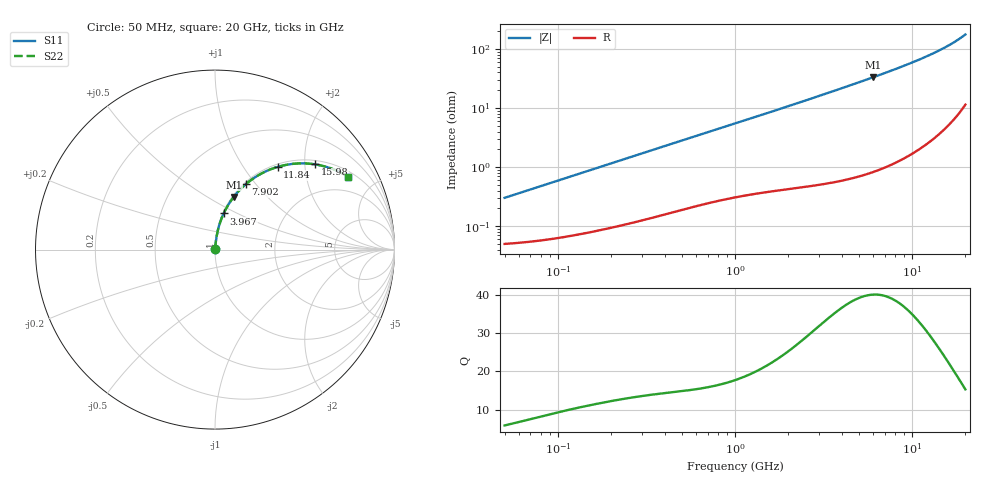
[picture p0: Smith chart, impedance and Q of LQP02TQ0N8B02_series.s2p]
!Murata Part Number: LQP02TQ0N8B02
!These Parameters are Measured in Series Mode Connection
!  o--[Z]--o
!Port1  Port2
!  o-------o
!Freq. Start=50[MHz] Stop=20[GHz], 401[Steps]
# Hz S RI R 50
!Freq.(Hz) S11(Real) S11(Imag) S21(Real) S21(Imag) S12(Real) S12(Imag) S22(Real) S22(Imag)
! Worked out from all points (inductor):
!   401 points, 50 MHz to 20 GHz, reference 50 ohm
!   read as one part in series: L = 947 pH near 51.52 MHz
!   highest Q = 40 at 6.034 GHz (marker M1), where L = 872 pH
!   S11 on the Smith chart (normalised r, x): 50 MHz: 1.00, +0.01; 3.967 GHz: 1.01, +0.43; 7.902 GHz: 1.02, +0.89; 11.84 GHz: 1.05, +1.45; 15.98 GHz: 1.10, +2.25; 20 GHz: 1.23, +3.49
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5e7  0.000512 0.00298  0.9995 -0.00298  0.9995 -0.00298  0.000512 0.00298
5.152053e7  0.000515 0.00307  0.9995 -0.00307  0.9995 -0.00307  0.000515 0.00307
1.364002e8  0.000807 0.00799  0.9992 -0.00799  0.9992 -0.00799  0.000807 0.00799
3.721004e8  0.00193 0.021  0.9981 -0.021  0.9981 -0.021  0.00193 0.021
6.380365e8  0.00352 0.0352  0.9965 -0.0352  0.9965 -0.0352  0.00352 0.0352
1e9  0.006 0.054  0.994 -0.054  0.994 -0.054  0.006 0.054
1.714689e9  0.0123 0.0906  0.9877 -0.0906  0.9877 -0.0906  0.0123 0.0906
2.728004e9  0.0253 0.1415  0.9747 -0.1415  0.9747 -0.1415  0.0253 0.1415
3.967106e9  0.0486 0.2017  0.9514 -0.2017  0.9514 -0.2017  0.0486 0.2017
4.966507e9  0.073 0.2477  0.927 -0.2477  0.927 -0.2477  0.073 0.2477
6.034176e9  0.1045 0.2936  0.8955 -0.2936  0.8955 -0.2936  0.1045 0.2936
7.442007e9  0.1536 0.3481  0.8464 -0.3481  0.8464 -0.3481  0.1536 0.3481
7.901521e9  0.1714 0.3641  0.8286 -0.3641  0.8286 -0.3641  0.1714 0.3641
8.774992e9  0.2072 0.3921  0.7928 -0.3921  0.7928 -0.3921  0.2072 0.3921
9.745021e9  0.2499 0.419  0.7501 -0.419  0.7501 -0.419  0.2499 0.419
1.082228e10  0.3 0.4434  0.7 -0.4434  0.7 -0.4434  0.3 0.4434
1.183995e10  0.3495 0.461  0.6505 -0.461  0.6505 -0.461  0.3495 0.461
1.396067e10  0.4563 0.4796  0.5437 -0.4796  0.5437 -0.4796  0.4563 0.4796
1.597544e10  0.5576 0.4749  0.4424 -0.4749  0.4424 -0.4749  0.5576 0.4749
1.774144e10  0.6422 0.454  0.3578 -0.454  0.3578 -0.454  0.6422 0.454
1.940974e10  0.7158 0.4214  0.2842 -0.4214  0.2842 -0.4214  0.7158 0.4214
2e10  0.74 0.4072  0.26 -0.4072  0.26 -0.4072  0.74 0.4072
